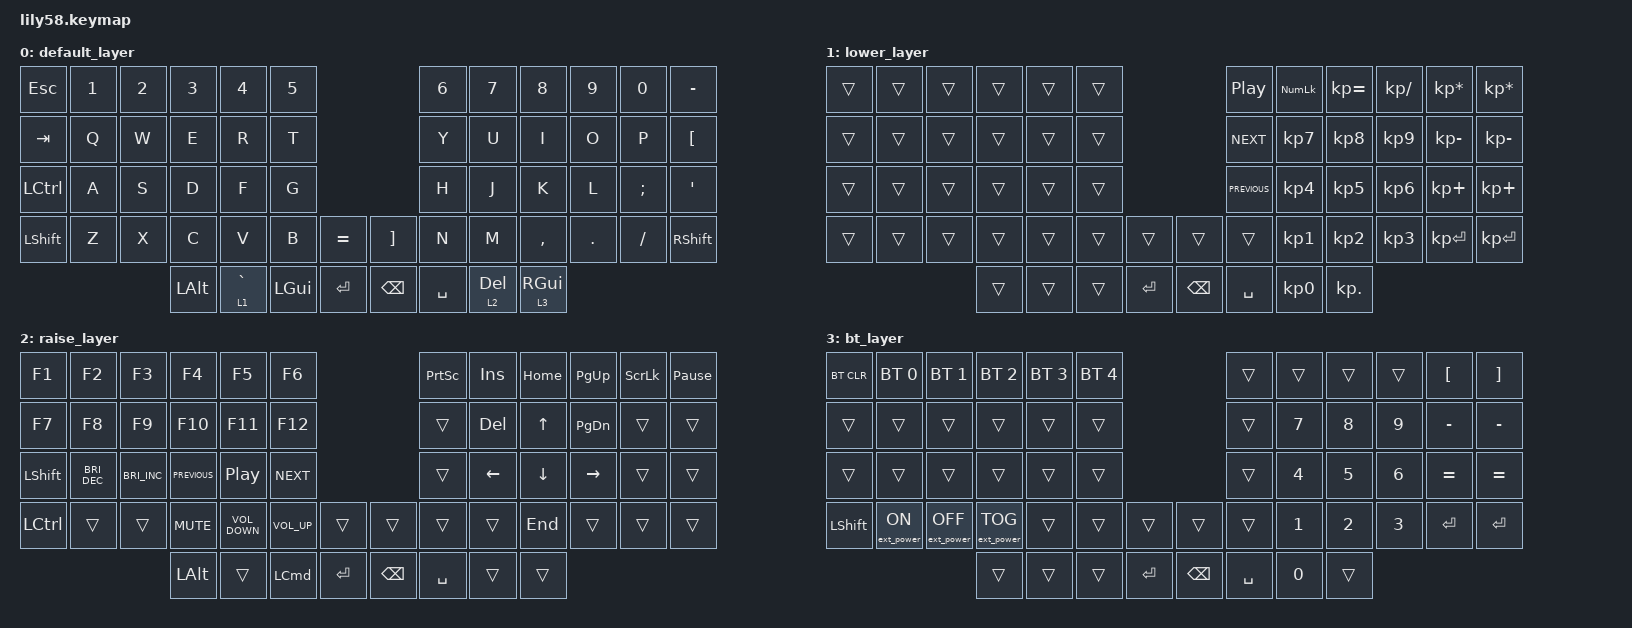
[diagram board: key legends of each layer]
/*
 * Copyright (c) 2020 The ZMK Contributors
 *
 * SPDX-License-Identifier: MIT
 */

#include <behaviors.dtsi>
#include <dt-bindings/zmk/bt.h>
#include <dt-bindings/zmk/ext_power.h>
#include <dt-bindings/zmk/keys.h>

/ {
    combos {
        compatible = "zmk,combos";

        combo_esc {
            timeout-ms = <50>;
            key-positions = <0 1>;
            bindings = <&kp ESC>;
        };
    };

    behaviors {
        ss_hs_modmorph: ss_hs_modmorph {
            compatible = "zmk,behavior-mod-morph";
            label = "SS_HS_MODMORPH";
            bindings = <&kp M>, <&kp RIGHT_BRACKET>;

            #binding-cells = <0>;
            mods = <(MOD_LSFT|MOD_RSFT)>;
        };

        kh_hs_tapdance: kh_hs_tapdance {
            compatible = "zmk,behavior-tap-dance";
            label = "KH_HS_TAPDANCE";
            #binding-cells = <0>;
            tapping-term-ms = <200>;
            bindings = <&kp LEFT_BRACKET>, <&kp RIGHT_BRACKET>;
        };

        hrm: hrm {
            compatible = "zmk,behavior-hold-tap";
            #binding-cells = <2>;
            flavor = "tap-preferred";
            tapping-term-ms = <200>;
            quick-tap-ms = <200>;
            require-prior-idle-ms = <125>;
            bindings = <&kp>, <&kp>;
        };
    };

    keymap {
        compatible = "zmk,keymap";

        default_layer {
            // ------------------------------------------------------------------------------------------------------------
            // |  ESC  |  1  |  2  |  3   |  4   |  5   |                   |  6   |  7    |  8    |  9   |   0   |   `   |
            // |  TAB  |  Q  |  W  |  E   |  R   |  T   |                   |  Y   |  U    |  I    |  O   |   P   |   -   |
            // |  CTRL |  A  |  S  |  D   |  F   |  G   |                   |  H   |  J    |  K    |  L   |   ;   |   '   |
            // | SHIFT |  Z  |  X  |  C   |  V   |  B   |   "["  |  |  "]"  |  N   |  M    |  ,    |  .   |   /   | SHIFT |
            //                     | ALT  | GUI  | LOWER|  SPACE |  | ENTER | RAISE| BSPC  | GUI   |

            bindings = <
&kp ESC    &kp N1  &kp N2  &kp N3    &kp N4       &kp N5                                    &kp N6     &kp N7        &kp N8           &kp N9   &kp N0    &kp MINUS
&kp TAB    &kp Q   &kp W   &kp E     &kp R        &kp T                                     &kp Y      &kp U         &kp I            &kp O    &kp P     &kp LBKT
&kp LCTRL  &kp A   &kp S   &kp D     &kp F        &kp G                                     &kp H      &kp J         &kp K            &kp L    &kp SEMI  &kp SQT
&kp LSHFT  &kp Z   &kp X   &kp C     &kp V        &kp B         &kp EQUAL    &kp RBKT       &kp N      &kp M         &kp COMMA        &kp DOT  &kp FSLH  &kp RIGHT_SHIFT
                           &kp LALT  &lt 1 GRAVE  &kp LEFT_GUI  &kp ENTER    &kp BACKSPACE  &kp SPACE  &lt 2 DELETE  &lt 3 RIGHT_GUI
            >;
        };

        lower_layer {
            // ------------------------------------------------------------------------------------------------------------
            // | BTCLR | BT1 | BT2 |  BT3 |  BT4 |  BT5 |                   |      |       |       |      |       |       |
            // |  F1   |  F2 |  F3 |  F4  |  F5  |  F6  |                   |  F7  |  F8   |  F9   |  F10 |  F11  |  F12  |
            // |   `   |  !  |  @  |  #   |  $   |  %   |                   |  ^   |  &    |  *    |  (   |   )   |   ~   |
            // |       |     |     |      |      |      |        |  |       |      |  _    |  +    |  {   |   }   |  "|"  |
            //                     |      |      |      |        |  |       |      |       |       |

            bindings = <
&trans  &trans  &trans  &trans  &trans  &trans                              &kp C_PLAY_PAUSE  &kp KP_NUMLOCK   &kp KP_EQUAL     &kp KP_SLASH     &kp KP_ASTERISK  &kp KP_ASTERISK
&trans  &trans  &trans  &trans  &trans  &trans                              &kp C_NEXT        &kp KP_NUMBER_7  &kp KP_NUMBER_8  &kp KP_NUMBER_9  &kp KP_MINUS     &kp KP_MINUS
&trans  &trans  &trans  &trans  &trans  &trans                              &kp C_PREVIOUS    &kp KP_NUMBER_4  &kp KP_NUMBER_5  &kp KP_NUMBER_6  &kp KP_PLUS      &kp KP_PLUS
&trans  &trans  &trans  &trans  &trans  &trans  &trans       &trans         &trans            &kp KP_NUMBER_1  &kp KP_NUMBER_2  &kp KP_NUMBER_3  &kp KP_ENTER     &kp KP_ENTER
                        &trans  &trans  &trans  &kp ENTER    &kp BACKSPACE  &kp SPACE         &kp KP_NUMBER_0  &kp KP_DOT
            >;
        };

        raise_layer {
            // ------------------------------------------------------------------------------------------------------------
            // |       |     |     |      |      |      |                   |      |       |       |      |       |       |
            // |   `   |  1  |  2  |  3   |  4   |  5   |                   |  6   |   7   |   8   |  9   |   0   |       |
            // |   F1  |  F2 |  F3 |  F4  |  F5  |  F6  |                   |      |   <-  |   v   |  ^   |  ->   |       |
            // |   F7  |  F8 |  F9 |  F10 |  F11 |  F12 |        |  |       |  +   |   -   |   =   |  [   |   ]   |   \   |
            //                     |      |      |      |        |  |       |      |       |       |

            bindings = <
&kp F1            &kp F2                &kp F3                &kp F4          &kp F5             &kp F6                                        &kp PRINTSCREEN  &kp INS     &kp HOME  &kp PAGE_UP    &kp SCROLLLOCK  &kp PAUSE_BREAK
&kp F7            &kp F8                &kp F9                &kp F10         &kp F11            &kp F12                                       &trans           &kp DELETE  &kp UP    &kp PAGE_DOWN  &trans          &trans
&kp LSHFT         &kp C_BRIGHTNESS_DEC  &kp C_BRIGHTNESS_INC  &kp C_PREVIOUS  &kp C_PLAY_PAUSE   &kp C_NEXT                                    &trans           &kp LEFT    &kp DOWN  &kp RIGHT      &trans          &trans
&kp LEFT_CONTROL  &trans                &trans                &kp C_MUTE      &kp C_VOLUME_DOWN  &kp C_VOLUME_UP   &trans       &trans         &trans           &trans      &kp END   &trans         &trans          &trans
                                                              &kp LEFT_ALT    &trans             &kp LEFT_COMMAND  &kp ENTER    &kp BACKSPACE  &kp SPACE        &trans      &trans
            >;
        };

        bt_layer {
            bindings = <
&bt BT_CLR      &bt BT_SEL 0      &bt BT_SEL 1       &bt BT_SEL 2       &bt BT_SEL 3  &bt BT_SEL 4                              &trans     &trans  &trans  &trans  &kp LBKT   &kp RBKT
&trans          &trans            &trans             &trans             &trans        &trans                                    &trans     &kp N7  &kp N8  &kp N9  &kp MINUS  &kp MINUS
&trans          &trans            &trans             &trans             &trans        &trans                                    &trans     &kp N4  &kp N5  &kp N6  &kp EQUAL  &kp EQUAL
&kp LEFT_SHIFT  &ext_power EP_ON  &ext_power EP_OFF  &ext_power EP_TOG  &trans        &trans        &trans       &trans         &trans     &kp N1  &kp N2  &kp N3  &kp ENTER  &kp ENTER
                                                     &trans             &trans        &trans        &kp ENTER    &kp BACKSPACE  &kp SPACE  &kp N0  &trans
            >;
        };
    };
};
